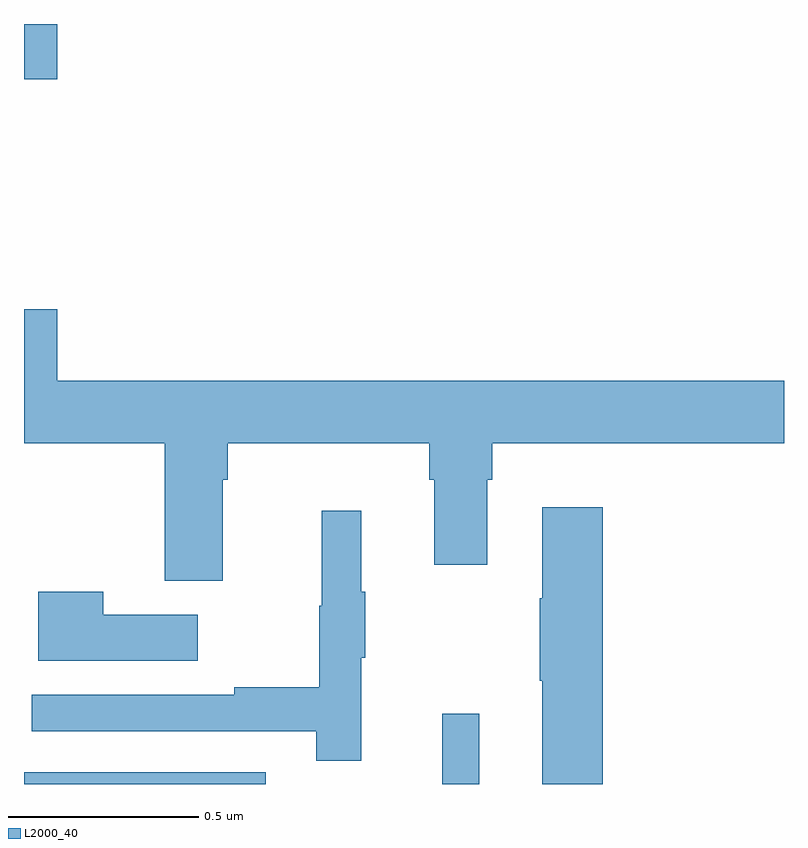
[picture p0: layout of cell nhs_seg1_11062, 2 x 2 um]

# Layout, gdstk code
import gdstk
lib = gdstk.Library(unit=1e-6, precision=1e-09)
def R(c, l, rs):  # rectangles x0, y0, x1, y1
    for r in rs: c.add(gdstk.rectangle(r[:2], r[2:], *l))
def P(c, l, *ps):  # polygons
    for p in ps: c.add(gdstk.Polygon(p, *l))
L2000_40 = (2000, 40)

nhs_seg1_11062 = lib.new_cell('nhs_seg1_11062')
R(nhs_seg1_11062, L2000_40, [(249,520.199,249.636,520.23), (250.101,520.199,250.198,520.384), (249,522.054,249.088,522.199)])
P(nhs_seg1_11062, L2000_40, [(249.523,521),(249.536,521),(249.536,521.096),(250.067,521.096),(250.067,521),(250.079,521),(250.079,520.776),(250.219,520.776),(250.219,521),(250.232,521),(250.232,521.096),(251,521.096),(251,521.26),(249.088,521.26),(249.088,521.449),(249,521.449),(249,521.096),(249.371,521.096),(249.371,520.734),(249.523,520.734)],
  [(250.523,520.927),(250.364,520.927),(250.364,520.688),(250.357,520.688),(250.357,520.471),(250.364,520.471),(250.364,520.199),(250.523,520.199)],
  [(249.887,520.531),(249.898,520.531),(249.898,520.705),(249.887,520.705),(249.887,520.918),(249.784,520.918),(249.784,520.668),(249.777,520.668),(249.777,520.454),(249.553,520.454),(249.553,520.434),(249.021,520.434),(249.021,520.338),(249.769,520.338),(249.769,520.26),(249.887,520.26)],
  [(249.457,520.645),(249.209,520.645),(249.209,520.705),(249.038,520.705),(249.038,520.523),(249.457,520.523)])

lib.write_gds('nhs_seg1_11062.gds')
